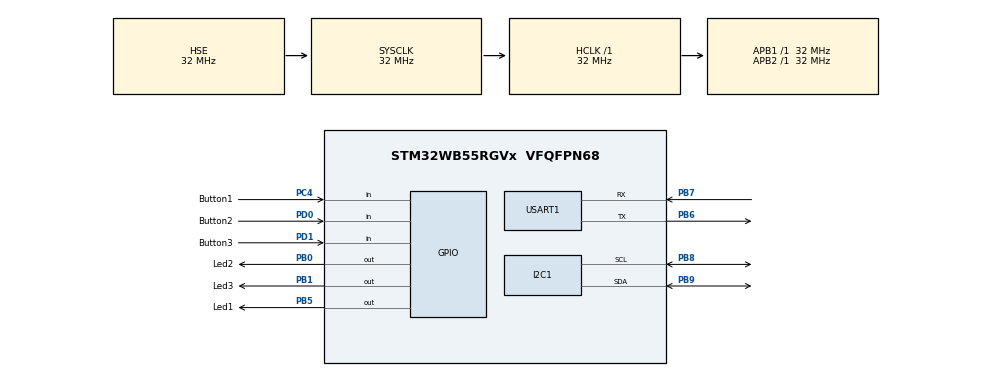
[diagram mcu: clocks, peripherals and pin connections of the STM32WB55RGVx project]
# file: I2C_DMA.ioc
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Dma.I2C1_RX.2.Direction=DMA_PERIPH_TO_MEMORY
Dma.I2C1_RX.2.EventEnable=DISABLE
Dma.I2C1_RX.2.Instance=DMA1_Channel3
Dma.I2C1_RX.2.MemDataAlignment=DMA_MDATAALIGN_BYTE
Dma.I2C1_RX.2.MemInc=DMA_MINC_ENABLE
Dma.I2C1_RX.2.Mode=DMA_NORMAL
Dma.I2C1_RX.2.PeriphDataAlignment=DMA_PDATAALIGN_BYTE
Dma.I2C1_RX.2.PeriphInc=DMA_PINC_DISABLE
Dma.I2C1_RX.2.Polarity=HAL_DMAMUX_REQ_GEN_RISING
Dma.I2C1_RX.2.Priority=DMA_PRIORITY_LOW
Dma.I2C1_RX.2.RequestNumber=1
Dma.I2C1_RX.2.SignalID=NONE
Dma.I2C1_RX.2.SyncEnable=DISABLE
Dma.I2C1_RX.2.SyncPolarity=HAL_DMAMUX_SYNC_NO_EVENT
Dma.I2C1_RX.2.SyncRequestNumber=1
Dma.I2C1_RX.2.SyncSignalID=NONE
Dma.I2C1_TX.3.Direction=DMA_MEMORY_TO_PERIPH
Dma.I2C1_TX.3.EventEnable=DISABLE
Dma.I2C1_TX.3.Instance=DMA1_Channel4
Dma.I2C1_TX.3.MemDataAlignment=DMA_MDATAALIGN_BYTE
Dma.I2C1_TX.3.MemInc=DMA_MINC_ENABLE
Dma.I2C1_TX.3.Mode=DMA_NORMAL
Dma.I2C1_TX.3.PeriphDataAlignment=DMA_PDATAALIGN_BYTE
Dma.I2C1_TX.3.PeriphInc=DMA_PINC_DISABLE
Dma.I2C1_TX.3.Polarity=HAL_DMAMUX_REQ_GEN_RISING
Dma.I2C1_TX.3.Priority=DMA_PRIORITY_LOW
Dma.I2C1_TX.3.RequestNumber=1
Dma.I2C1_TX.3.SignalID=NONE
Dma.I2C1_TX.3.SyncEnable=DISABLE
Dma.I2C1_TX.3.SyncPolarity=HAL_DMAMUX_SYNC_NO_EVENT
Dma.I2C1_TX.3.SyncRequestNumber=1
Dma.I2C1_TX.3.SyncSignalID=NONE
Dma.Request0=USART1_RX
Dma.Request1=USART1_TX
Dma.Request2=I2C1_RX
Dma.Request3=I2C1_TX
Dma.USART1_RX.0.Direction=DMA_PERIPH_TO_MEMORY
Dma.USART1_RX.0.EventEnable=DISABLE
Dma.USART1_RX.0.Instance=DMA1_Channel1
Dma.USART1_RX.0.MemDataAlignment=DMA_MDATAALIGN_BYTE
Dma.USART1_RX.0.MemInc=DMA_MINC_ENABLE
Dma.USART1_RX.0.Mode=DMA_NORMAL
Dma.USART1_RX.0.PeriphDataAlignment=DMA_PDATAALIGN_BYTE
Dma.USART1_RX.0.PeriphInc=DMA_PINC_DISABLE
Dma.USART1_RX.0.Polarity=HAL_DMAMUX_REQ_GEN_RISING
Dma.USART1_RX.0.Priority=DMA_PRIORITY_LOW
Dma.USART1_RX.0.RequestNumber=1
Dma.USART1_RX.0.SignalID=NONE
Dma.USART1_RX.0.SyncEnable=DISABLE
Dma.USART1_RX.0.SyncPolarity=HAL_DMAMUX_SYNC_NO_EVENT
Dma.USART1_RX.0.SyncRequestNumber=1
Dma.USART1_RX.0.SyncSignalID=NONE
Dma.USART1_TX.1.Direction=DMA_MEMORY_TO_PERIPH
Dma.USART1_TX.1.EventEnable=DISABLE
Dma.USART1_TX.1.Instance=DMA1_Channel2
Dma.USART1_TX.1.MemDataAlignment=DMA_MDATAALIGN_BYTE
Dma.USART1_TX.1.MemInc=DMA_MINC_ENABLE
Dma.USART1_TX.1.Mode=DMA_NORMAL
Dma.USART1_TX.1.PeriphDataAlignment=DMA_PDATAALIGN_BYTE
Dma.USART1_TX.1.PeriphInc=DMA_PINC_DISABLE
Dma.USART1_TX.1.Polarity=HAL_DMAMUX_REQ_GEN_RISING
Dma.USART1_TX.1.Priority=DMA_PRIORITY_LOW
Dma.USART1_TX.1.RequestNumber=1
Dma.USART1_TX.1.SignalID=NONE
Dma.USART1_TX.1.SyncEnable=DISABLE
Dma.USART1_TX.1.SyncPolarity=HAL_DMAMUX_SYNC_NO_EVENT
Dma.USART1_TX.1.SyncRequestNumber=1
Dma.USART1_TX.1.SyncSignalID=NONE
I2C1.OwnAddress=SLAVE_ADDRESS
I2C1.Timing=0x00707CBB
Mcu.Family=STM32WB
Mcu.Name=STM32WB55RGVx
Mcu.Package=VFQFPN68
Mcu.UserConstants=SLAVE_ADDRESS,0xA0
NVIC.DMA1_Channel1_IRQn=true\:0\:0\:false\:false\:true\:false\:true
NVIC.DMA1_Channel2_IRQn=true\:0\:0\:false\:false\:true\:false\:true
NVIC.DMA1_Channel3_IRQn=true\:0\:0\:false\:false\:true\:false\:true
NVIC.DMA1_Channel4_IRQn=true\:0\:0\:false\:false\:true\:false\:true
NVIC.HSEM_IRQn=true\:0\:0\:false\:false\:true\:false\:true
NVIC.I2C1_ER_IRQn=true\:0\:0\:false\:false\:true\:true\:true
NVIC.I2C1_EV_IRQn=true\:0\:0\:false\:false\:true\:true\:true
NVIC.PriorityGroup=NVIC_PRIORITYGROUP_4
NVIC.USART1_IRQn=true\:0\:0\:false\:false\:true\:true\:true
OSC_IN.Mode=HSE-External-Oscillator
OSC_IN.Signal=RCC_OSC_IN
OSC_OUT.Mode=HSE-External-Oscillator
OSC_OUT.Signal=RCC_OSC_OUT
PB0.GPIO_Label=Led2
PB0.Signal=GPIO_Output
PB1.GPIO_Label=Led3
PB1.Signal=GPIO_Output
PB5.GPIO_Label=Led1
PB5.Signal=GPIO_Output
PB6.Mode=Asynchronous
PB6.Signal=USART1_TX
PB7.Mode=Asynchronous
PB7.Signal=USART1_RX
PB8.Mode=I2C
PB8.Signal=I2C1_SCL
PB9.Mode=I2C
PB9.Signal=I2C1_SDA
PC14-OSC32_IN.Mode=LSE-External-Oscillator
PC14-OSC32_IN.Signal=RCC_OSC32_IN
PC15-OSC32_OUT.Mode=LSE-External-Oscillator
PC15-OSC32_OUT.Signal=RCC_OSC32_OUT
PC4.GPIO_Label=Button1
PC4.GPIO_PuPd=GPIO_PULLUP
PC4.Signal=GPIO_Input
PD0.GPIO_Label=Button2
PD0.GPIO_PuPd=GPIO_PULLUP
PD0.Signal=GPIO_Input
PD1.GPIO_Label=Button3
PD1.GPIO_PuPd=GPIO_PULLUP
PD1.Signal=GPIO_Input
ProjectManager.HeapSize=0x200
ProjectManager.StackSize=0x400
ProjectManager.TargetToolchain=STM32CubeIDE
RCC.AHBFreq_Value=32000000
RCC.APB1Freq_Value=32000000
RCC.APB1TimFreq_Value=32000000
RCC.APB2Freq_Value=32000000
RCC.APB2TimFreq_Value=32000000
RCC.APB3Freq_Value=16000000
RCC.CortexFreq_Value=32000000
RCC.HCLKFreq_Value=32000000
RCC.HSE_VALUE=32000000
RCC.HSI48_VALUE=48000000
RCC.HSI_VALUE=16000000
RCC.SMPSCLockSelectionVirtual=RCC_SMPSCLKSOURCE_HSE
RCC.SYSCLKFreq_VALUE=32000000
RCC.SYSCLKSource=RCC_SYSCLKSOURCE_HSE
RCC.VCOOutputFreq_Value=32000000
USART1.VirtualMode-Asynchronous=VM_ASYNC
VP_HSEM_VS_HSEM.Mode=HSEM_Activate
board=custom

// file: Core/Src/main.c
/* USER CODE BEGIN Header */
/**
  ******************************************************************************
  * @file           : main.c
  * @brief          : Main program body
  ******************************************************************************
  * @attention
  *
  * <h2><center>&copy; Copyright (c) 2022 STMicroelectronics.
  * All rights reserved.</center></h2>
  *
  * This software component is licensed by ST under BSD 3-Clause license,
  * the "License"; You may not use this file except in compliance with the
  * License. You may obtain a copy of the License at:
  *                        opensource.org/licenses/BSD-3-Clause
  *
  ******************************************************************************
  */
/* USER CODE END Header */
#include "main.h"

/* USER CODE BEGIN Includes */
#include <stdio.h>
/* USER CODE END Includes */

I2C_HandleTypeDef hi2c1;
DMA_HandleTypeDef hdma_i2c1_rx;
DMA_HandleTypeDef hdma_i2c1_tx;

UART_HandleTypeDef huart1;
DMA_HandleTypeDef hdma_usart1_rx;
DMA_HandleTypeDef hdma_usart1_tx;

/* USER CODE BEGIN PV */
uint8_t MasterTxBuffer[8] = "MASTER_T";
uint8_t MasterRxBuffer[8] = "MASTER_R";
uint8_t SlaveTxBuffer[8]  = "SLAVE__T";
uint8_t SlaveRxBuffer[8]  = "SLAVE__R";
uint8_t MessageSend[8]    = "ALO12345";
/* USER CODE END PV */

void SystemClock_Config(void);
static void MX_GPIO_Init(void);
static void MX_DMA_Init(void);
static void MX_USART1_UART_Init(void);
static void MX_I2C1_Init(void);
/* USER CODE BEGIN PFP */
#ifdef __GNUC__
/* With GCC, small printf (option LD Linker->Libraries->Small printf
   set to 'Yes') calls __io_putchar() */
#define PUTCHAR_PROTOTYPE int __io_putchar(int ch)
#else
#define PUTCHAR_PROTOTYPE int fputc(int ch, FILE *f)
#endif /* __GNUC__ */
/* USER CODE END PFP */

int main(void)
{

  /* MCU Configuration--------------------------------------------------------*/

  /* Reset of all peripherals, Initializes the Flash interface and the Systick. */
  HAL_Init();

  /* Configure the system clock */
  SystemClock_Config();

  /* Initialize all configured peripherals */
  MX_GPIO_Init();
  MX_DMA_Init();
  MX_USART1_UART_Init();
  MX_I2C1_Init();

  /* Infinite loop */
  while (1)
  {

    /* USER CODE BEGIN 3 */

	  printf("!!! Start !!! \n");
	/*
	Step 0 : startup, Led 1 on both board
	Step 1 : Slave start receiving
	Step 2 : Press Master button 1 -> Master start sending -> If ok LED 2 on Master + Slave board
	Step 3 : Slave start sending back
	Step 4 : Master start receiving. If ok LED 3 on Master + Slave board
	Verify RXBuffer with UART
	*/

//#define MASTER
#define I2C_ADDRESS 0xA0

#ifdef MASTER
	  HAL_GPIO_TogglePin(Led1_GPIO_Port, Led1_Pin);
	  while (HAL_GPIO_ReadPin(Button1_GPIO_Port, Button1_Pin) != GPIO_PIN_RESET) {}

	  while(HAL_I2C_Master_Transmit_DMA(&hi2c1, (uint16_t)I2C_ADDRESS, (uint8_t*)MessageSend, sizeof MessageSend)!= HAL_OK){}
	  HAL_GPIO_TogglePin(Led2_GPIO_Port, Led2_Pin);
	  while(HAL_I2C_Master_Receive_DMA (&hi2c1, (uint16_t)I2C_ADDRESS, (uint8_t *)MasterRxBuffer, sizeof MasterRxBuffer)!= HAL_OK){}

#else
	  HAL_GPIO_TogglePin(Led1_GPIO_Port, Led1_Pin);
	  while(HAL_I2C_Slave_Receive_DMA(&hi2c1, (uint8_t *)SlaveRxBuffer, sizeof SlaveRxBuffer) != HAL_OK){}

#endif

	  while (1)
	  {
		  HAL_Delay(1000);
		  printf("!!! Loop !!! \n");
		#ifdef MASTER
		  HAL_UART_Transmit(&huart1,MasterRxBuffer,sizeof MasterRxBuffer,1000);
		#else
		  HAL_UART_Transmit(&huart1,SlaveRxBuffer,sizeof SlaveRxBuffer,1000);
		#endif

	  }

	  HAL_Delay(1000);
  }
  /* USER CODE END 3 */
}

void SystemClock_Config(void)
{
  RCC_OscInitTypeDef RCC_OscInitStruct = {0};
  RCC_ClkInitTypeDef RCC_ClkInitStruct = {0};
  RCC_PeriphCLKInitTypeDef PeriphClkInitStruct = {0};

  /** Configure the main internal regulator output voltage
  */
  __HAL_PWR_VOLTAGESCALING_CONFIG(PWR_REGULATOR_VOLTAGE_SCALE1);
  /** Initializes the RCC Oscillators according to the specified parameters
  * in the RCC_OscInitTypeDef structure.
  */
  RCC_OscInitStruct.OscillatorType = RCC_OSCILLATORTYPE_HSI|RCC_OSCILLATORTYPE_HSE;
  RCC_OscInitStruct.HSEState = RCC_HSE_ON;
  RCC_OscInitStruct.HSIState = RCC_HSI_ON;
  RCC_OscInitStruct.HSICalibrationValue = RCC_HSICALIBRATION_DEFAULT;
  RCC_OscInitStruct.PLL.PLLState = RCC_PLL_NONE;
  if (HAL_RCC_OscConfig(&RCC_OscInitStruct) != HAL_OK)
  {
    Error_Handler();
  }
  /** Configure the SYSCLKSource, HCLK, PCLK1 and PCLK2 clocks dividers
  */
  RCC_ClkInitStruct.ClockType = RCC_CLOCKTYPE_HCLK4|RCC_CLOCKTYPE_HCLK2
                              |RCC_CLOCKTYPE_HCLK|RCC_CLOCKTYPE_SYSCLK
                              |RCC_CLOCKTYPE_PCLK1|RCC_CLOCKTYPE_PCLK2;
  RCC_ClkInitStruct.SYSCLKSource = RCC_SYSCLKSOURCE_HSE;
  RCC_ClkInitStruct.AHBCLKDivider = RCC_SYSCLK_DIV1;
  RCC_ClkInitStruct.APB1CLKDivider = RCC_HCLK_DIV1;
  RCC_ClkInitStruct.APB2CLKDivider = RCC_HCLK_DIV1;
  RCC_ClkInitStruct.AHBCLK2Divider = RCC_SYSCLK_DIV1;
  RCC_ClkInitStruct.AHBCLK4Divider = RCC_SYSCLK_DIV1;

  if (HAL_RCC_ClockConfig(&RCC_ClkInitStruct, FLASH_LATENCY_1) != HAL_OK)
  {
    Error_Handler();
  }
  /** Initializes the peripherals clocks
  */
  PeriphClkInitStruct.PeriphClockSelection = RCC_PERIPHCLK_SMPS|RCC_PERIPHCLK_USART1
                              |RCC_PERIPHCLK_I2C1;
  PeriphClkInitStruct.Usart1ClockSelection = RCC_USART1CLKSOURCE_PCLK2;
  PeriphClkInitStruct.I2c1ClockSelection = RCC_I2C1CLKSOURCE_PCLK1;
  PeriphClkInitStruct.SmpsClockSelection = RCC_SMPSCLKSOURCE_HSE;
  PeriphClkInitStruct.SmpsDivSelection = RCC_SMPSCLKDIV_RANGE0;
  if (HAL_RCCEx_PeriphCLKConfig(&PeriphClkInitStruct) != HAL_OK)
  {
    Error_Handler();
  }
}

static void MX_I2C1_Init(void)
{

  hi2c1.Instance = I2C1;
  hi2c1.Init.Timing = 0x00707CBB;
  hi2c1.Init.OwnAddress1 = SLAVE_ADDRESS;
  hi2c1.Init.AddressingMode = I2C_ADDRESSINGMODE_7BIT;
  hi2c1.Init.DualAddressMode = I2C_DUALADDRESS_DISABLE;
  hi2c1.Init.OwnAddress2 = 0;
  hi2c1.Init.OwnAddress2Masks = I2C_OA2_NOMASK;
  hi2c1.Init.GeneralCallMode = I2C_GENERALCALL_DISABLE;
  hi2c1.Init.NoStretchMode = I2C_NOSTRETCH_DISABLE;
  if (HAL_I2C_Init(&hi2c1) != HAL_OK)
  {
    Error_Handler();
  }
  /** Configure Analogue filter
  */
  if (HAL_I2CEx_ConfigAnalogFilter(&hi2c1, I2C_ANALOGFILTER_ENABLE) != HAL_OK)
  {
    Error_Handler();
  }
  /** Configure Digital filter
  */
  if (HAL_I2CEx_ConfigDigitalFilter(&hi2c1, 0) != HAL_OK)
  {
    Error_Handler();
  }

}

static void MX_USART1_UART_Init(void)
{

  huart1.Instance = USART1;
  huart1.Init.BaudRate = 115200;
  huart1.Init.WordLength = UART_WORDLENGTH_8B;
  huart1.Init.StopBits = UART_STOPBITS_1;
  huart1.Init.Parity = UART_PARITY_NONE;
  huart1.Init.Mode = UART_MODE_TX_RX;
  huart1.Init.HwFlowCtl = UART_HWCONTROL_NONE;
  huart1.Init.OverSampling = UART_OVERSAMPLING_16;
  huart1.Init.OneBitSampling = UART_ONE_BIT_SAMPLE_DISABLE;
  huart1.Init.ClockPrescaler = UART_PRESCALER_DIV1;
  huart1.AdvancedInit.AdvFeatureInit = UART_ADVFEATURE_NO_INIT;
  if (HAL_UART_Init(&huart1) != HAL_OK)
  {
    Error_Handler();
  }
  if (HAL_UARTEx_SetTxFifoThreshold(&huart1, UART_TXFIFO_THRESHOLD_1_8) != HAL_OK)
  {
    Error_Handler();
  }
  if (HAL_UARTEx_SetRxFifoThreshold(&huart1, UART_RXFIFO_THRESHOLD_1_8) != HAL_OK)
  {
    Error_Handler();
  }
  if (HAL_UARTEx_DisableFifoMode(&huart1) != HAL_OK)
  {
    Error_Handler();
  }

}

static void MX_DMA_Init(void)
{

  /* DMA controller clock enable */
  __HAL_RCC_DMAMUX1_CLK_ENABLE();
  __HAL_RCC_DMA1_CLK_ENABLE();

  /* DMA interrupt init */
  /* DMA1_Channel1_IRQn interrupt configuration */
  HAL_NVIC_SetPriority(DMA1_Channel1_IRQn, 0, 0);
  HAL_NVIC_EnableIRQ(DMA1_Channel1_IRQn);
  /* DMA1_Channel2_IRQn interrupt configuration */
  HAL_NVIC_SetPriority(DMA1_Channel2_IRQn, 0, 0);
  HAL_NVIC_EnableIRQ(DMA1_Channel2_IRQn);
  /* DMA1_Channel3_IRQn interrupt configuration */
  HAL_NVIC_SetPriority(DMA1_Channel3_IRQn, 0, 0);
  HAL_NVIC_EnableIRQ(DMA1_Channel3_IRQn);
  /* DMA1_Channel4_IRQn interrupt configuration */
  HAL_NVIC_SetPriority(DMA1_Channel4_IRQn, 0, 0);
  HAL_NVIC_EnableIRQ(DMA1_Channel4_IRQn);

}

static void MX_GPIO_Init(void)
{
  GPIO_InitTypeDef GPIO_InitStruct = {0};

  /* GPIO Ports Clock Enable */
  __HAL_RCC_GPIOC_CLK_ENABLE();
  __HAL_RCC_GPIOB_CLK_ENABLE();
  __HAL_RCC_GPIOD_CLK_ENABLE();

  /*Configure GPIO pin Output Level */
  HAL_GPIO_WritePin(GPIOB, Led2_Pin|Led3_Pin|Led1_Pin, GPIO_PIN_RESET);

  /*Configure GPIO pin : Button1_Pin */
  GPIO_InitStruct.Pin = Button1_Pin;
  GPIO_InitStruct.Mode = GPIO_MODE_INPUT;
  GPIO_InitStruct.Pull = GPIO_PULLUP;
  HAL_GPIO_Init(Button1_GPIO_Port, &GPIO_InitStruct);

  /*Configure GPIO pins : Led2_Pin Led3_Pin Led1_Pin */
  GPIO_InitStruct.Pin = Led2_Pin|Led3_Pin|Led1_Pin;
  GPIO_InitStruct.Mode = GPIO_MODE_OUTPUT_PP;
  GPIO_InitStruct.Pull = GPIO_NOPULL;
  GPIO_InitStruct.Speed = GPIO_SPEED_FREQ_LOW;
  HAL_GPIO_Init(GPIOB, &GPIO_InitStruct);

  /*Configure GPIO pins : Button2_Pin Button3_Pin */
  GPIO_InitStruct.Pin = Button2_Pin|Button3_Pin;
  GPIO_InitStruct.Mode = GPIO_MODE_INPUT;
  GPIO_InitStruct.Pull = GPIO_PULLUP;
  HAL_GPIO_Init(GPIOD, &GPIO_InitStruct);

}

/* USER CODE BEGIN 4 */
PUTCHAR_PROTOTYPE
{
  /* Place your implementation of fputc here */
  /* e.g. write a character to the USART1 and Loop until the end of transmission */
  HAL_UART_Transmit(&huart1, (uint8_t *)&ch, 1, 0xFFFF);

  return ch;
}

void HAL_I2C_MasterTxCpltCallback(I2C_HandleTypeDef *hi2c)
{
	printf("Master send \n");
}

void HAL_I2C_MasterRxCpltCallback(I2C_HandleTypeDef *hi2c)
{
	printf("Master received \n");
	HAL_GPIO_TogglePin(Led3_GPIO_Port, Led3_Pin);
}

void HAL_I2C_SlaveTxCpltCallback(I2C_HandleTypeDef *hi2c)
{
	printf("Slave send \n");
	HAL_GPIO_TogglePin(Led3_GPIO_Port, Led3_Pin);
}

void HAL_I2C_SlaveRxCpltCallback(I2C_HandleTypeDef *hi2c)
{
	printf("Slave received \n");
	HAL_GPIO_TogglePin(Led2_GPIO_Port, Led2_Pin);
	HAL_I2C_Slave_Transmit_DMA(&hi2c1, (uint8_t*)SlaveRxBuffer, sizeof SlaveRxBuffer);
}
/* USER CODE END 4 */

void Error_Handler(void)
{
}

/************************ (C) COPYRIGHT STMicroelectronics *****END OF FILE****/
